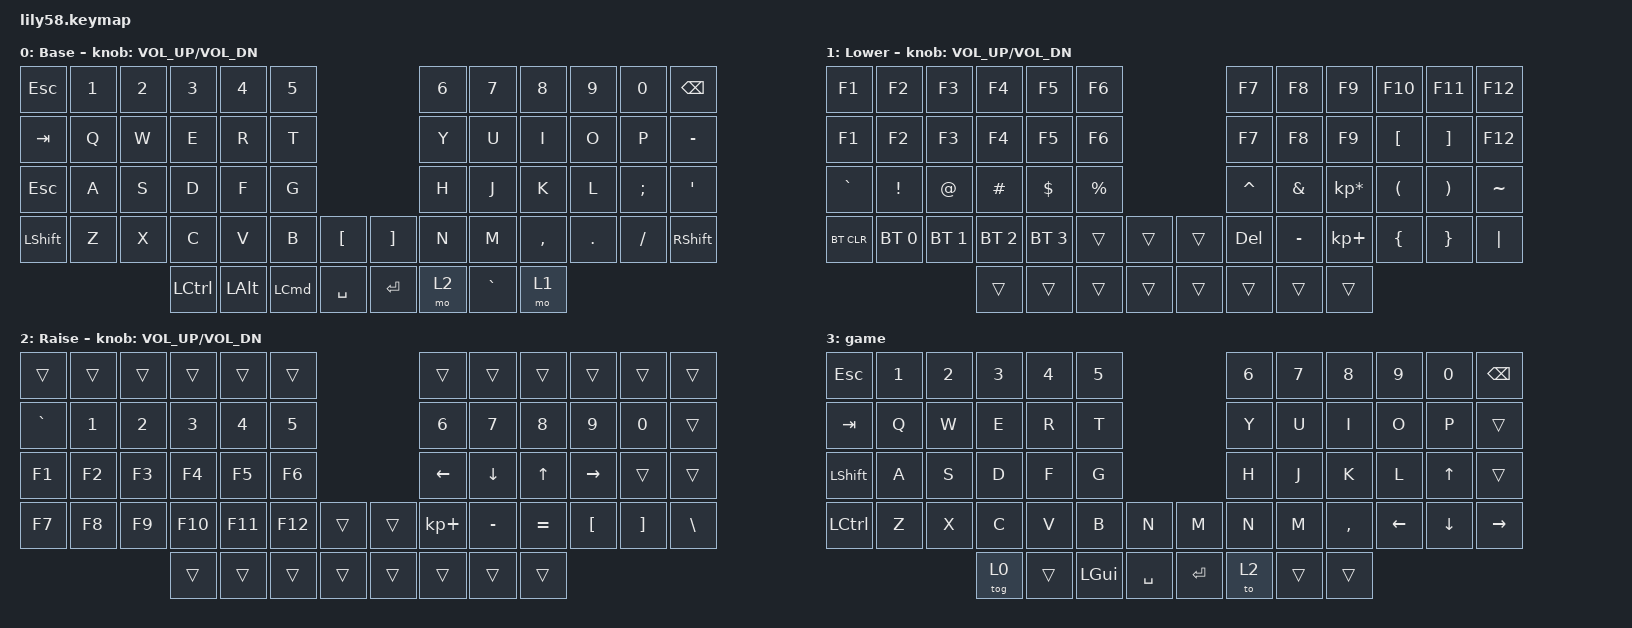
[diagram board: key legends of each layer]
/*
 * Copyright (c) 2020 The ZMK Contributors
 *
 * SPDX-License-Identifier: MIT
 */

#include <behaviors.dtsi>
#include <dt-bindings/zmk/bt.h>
#include <dt-bindings/zmk/keys.h>

/ {
    combos {
        compatible = "zmk,combos";

        goToGameLayer {
            bindings = <&tog 3>;
            key-positions = <25 14 27>;
        };

        mac-seach {
            bindings = <&macSearch>;
            key-positions = <53 54>;
        };

        onePassSearch {
            bindings = <&onePassSearch>;
            key-positions = <53 54 36>;
        };
    };

    macros {
        macSearch: macSearch {
            compatible = "zmk,behavior-macro";
            #binding-cells = <0>;
            bindings =
                <&macro_press>,
                <&kp LCMD>,
                <&macro_press>,
                <&kp SPACE>,
                <&macro_release>,
                <&kp LEFT_COMMAND>;

            label = "MACSEARCH";
        };

        onePassSearch: onePassSearch {
            compatible = "zmk,behavior-macro";
            #binding-cells = <0>;
            bindings =
                <&macro_press>,
                <&kp LCMD &kp LEFT_SHIFT>,
                <&macro_press>,
                <&kp SPACE>,
                <&macro_release>,
                <&kp LEFT_COMMAND &kp LEFT_SHIFT>;

            label = "ONEPASSSEARCH";
        };
    };

    keymap {
        compatible = "zmk,keymap";

        default_layer {
            // ------------------------------------------------------------------------------------------------------------
            // |  ESC  |  1  |  2  |  3   |  4   |  5   |                   |  6   |  7    |  8    |  9   |   0   |   `   |
            // |  TAB  |  Q  |  W  |  E   |  R   |  T   |                   |  Y   |  U    |  I    |  O   |   P   |   -   |
            // |  CTRL |  A  |  S  |  D   |  F   |  G   |                   |  H   |  J    |  K    |  L   |   ;   |   '   |
            // | SHIFT |  Z  |  X  |  C   |  V   |  B   |   "["  |  |  "]"  |  N   |  M    |  ,    |  .   |   /   | SHIFT |
            //                     | ALT  | GUI  | LOWER|  SPACE |  | ENTER | RAISE| BSPC  | GUI   |

            label = "Base";
            bindings = <
&kp ESC     &kp N1  &kp N2  &kp N3            &kp N4        &kp N5                                   &kp N6  &kp N7     &kp N8     &kp N9   &kp N0    &kp BACKSPACE
&kp TAB     &kp Q   &kp W   &kp E             &kp R         &kp T                                    &kp Y   &kp U      &kp I      &kp O    &kp P     &kp MINUS
&kp ESCAPE  &kp A   &kp S   &kp D             &kp F         &kp G                                    &kp H   &kp J      &kp K      &kp L    &kp SEMI  &kp SQT
&kp LSHFT   &kp Z   &kp X   &kp C             &kp V         &kp B             &kp LBKT     &kp RBKT  &kp N   &kp M      &kp COMMA  &kp DOT  &kp FSLH  &kp RSHFT
                            &kp LEFT_CONTROL  &kp LEFT_ALT  &kp LEFT_COMMAND  &kp SPACE    &kp RET   &mo 2   &kp GRAVE  &mo 1
            >;

            sensor-bindings = <&inc_dec_kp C_VOL_UP C_VOL_DN>;
        };

        lower_layer {
            // ------------------------------------------------------------------------------------------------------------
            // | BTCLR | BT1 | BT2 |  BT3 |  BT4 |  BT5 |                   |      |       |       |      |       |       |
            // |  F1   |  F2 |  F3 |  F4  |  F5  |  F6  |                   |  F7  |  F8   |  F9   |  F10 |  F11  |  F12  |
            // |   `   |  !  |  @  |  #   |  $   |  %   |                   |  ^   |  &    |  *    |  (   |   )   |   ~   |
            // |       |     |     |      |      |      |        |  |       |      |  _    |  +    |  {   |   }   |  "|"  |
            //                     |      |      |      |        |  |       |      |       |       |

            label = "Lower";
            bindings = <
&kp F1      &kp F2        &kp F3        &kp F4        &kp F5        &kp F6                       &kp F7      &kp F8     &kp F9           &kp F10           &kp F11            &kp F12
&kp F1      &kp F2        &kp F3        &kp F4        &kp F5        &kp F6                       &kp F7      &kp F8     &kp F9           &kp LEFT_BRACKET  &kp RIGHT_BRACKET  &kp F12
&kp GRAVE   &kp EXCL      &kp AT        &kp HASH      &kp DOLLAR    &kp PRCNT                    &kp CARET   &kp AMPS   &kp KP_MULTIPLY  &kp LPAR          &kp RPAR           &kp TILDE
&bt BT_CLR  &bt BT_SEL 0  &bt BT_SEL 1  &bt BT_SEL 2  &bt BT_SEL 3  &trans     &trans    &trans  &kp DELETE  &kp MINUS  &kp KP_PLUS      &kp LBRC          &kp RBRC           &kp PIPE
                                        &trans        &trans        &trans     &trans    &trans  &trans      &trans     &trans
            >;

            sensor-bindings = <&inc_dec_kp C_VOL_UP C_VOL_DN>;
        };

        raise_layer {
            // ------------------------------------------------------------------------------------------------------------
            // |       |     |     |      |      |      |                   |      |       |       |      |       |       |
            // |   `   |  1  |  2  |  3   |  4   |  5   |                   |  6   |   7   |   8   |  9   |   0   |       |
            // |   F1  |  F2 |  F3 |  F4  |  F5  |  F6  |                   |      |   <-  |   v   |  ^   |  ->   |       |
            // |   F7  |  F8 |  F9 |  F10 |  F11 |  F12 |        |  |       |  +   |   -   |   =   |  [   |   ]   |   \   |
            //                     |      |      |      |        |  |       |      |       |       |

            label = "Raise";
            bindings = <
&trans     &trans  &trans  &trans   &trans   &trans                     &trans          &trans          &trans        &trans           &trans    &trans
&kp GRAVE  &kp N1  &kp N2  &kp N3   &kp N4   &kp N5                     &kp N6          &kp N7          &kp N8        &kp N9           &kp N0    &trans
&kp F1     &kp F2  &kp F3  &kp F4   &kp F5   &kp F6                     &kp LEFT_ARROW  &kp DOWN_ARROW  &kp UP_ARROW  &kp RIGHT_ARROW  &trans    &trans
&kp F7     &kp F8  &kp F9  &kp F10  &kp F11  &kp F12  &trans    &trans  &kp KP_PLUS     &kp MINUS       &kp EQUAL     &kp LBKT         &kp RBKT  &kp BSLH
                           &trans   &trans   &trans   &trans    &trans  &trans          &trans          &trans
            >;

            sensor-bindings = <&inc_dec_kp C_VOL_UP C_VOL_DN>;
        };

        game {
            bindings = <
&kp ESC    &kp NUMBER_1  &kp NUMBER_2  &kp NUMBER_3  &kp NUMBER_4  &kp NUMBER_5                          &kp N6  &kp N7  &kp N8     &kp N9          &kp N0          &kp BSPC
&kp TAB    &kp Q         &kp W         &kp E         &kp R         &kp T                                 &kp Y   &kp U   &kp I      &kp O           &kp P           &trans
&kp LSHFT  &kp A         &kp S         &kp D         &kp F         &kp G                                 &kp H   &kp J   &kp K      &kp L           &kp UP_ARROW    &trans
&kp LCTRL  &kp Z         &kp X         &kp C         &kp V         &kp B         &kp N        &kp M      &kp N   &kp M   &kp COMMA  &kp LEFT_ARROW  &kp DOWN_ARROW  &kp RIGHT_ARROW
                                       &tog 0        &trans        &kp LGUI      &kp SPACE    &kp ENTER  &to 2   &trans  &trans
            >;
        };
    };
};
